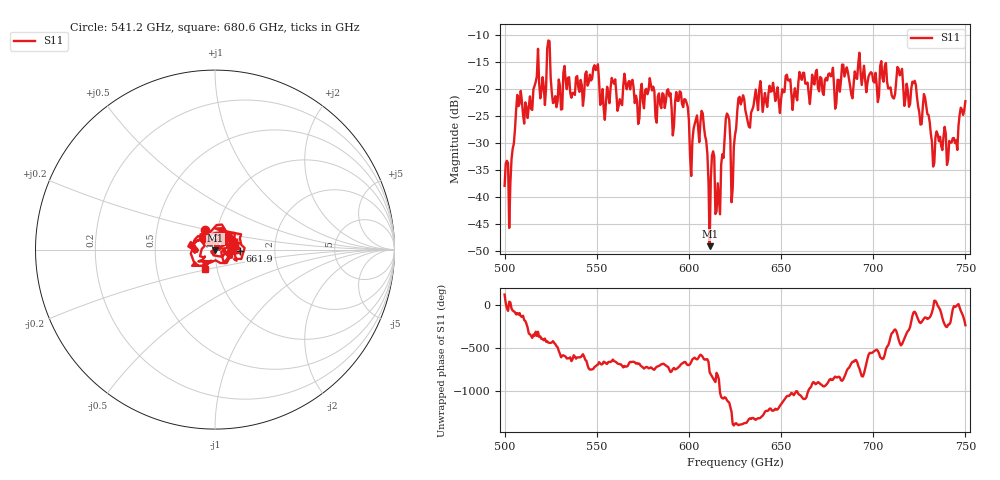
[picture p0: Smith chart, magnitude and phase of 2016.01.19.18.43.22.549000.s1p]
!Created with skrf (http://scikit-rf.org).
# GHz S RI R 50.0
!freq ReS11 ImS11
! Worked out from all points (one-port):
!   401 points, 500 GHz to 750 GHz, reference 50 ohm
!   lowest |S11| = -49.1 dB at 611.2 GHz (marker M1), VSWR 1.01, Z = 50.2 - j0.3 ohm
!   |S11| at or under -10 dB: start of sweep to end of sweep
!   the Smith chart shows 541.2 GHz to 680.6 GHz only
!   S11 on the Smith chart (normalised r, x): 541.2 GHz: 0.88, +0.19; 661.9 GHz: 1.33, -0.02; 680.6 GHz: 0.88, -0.19
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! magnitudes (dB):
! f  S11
! 500 GHz  -38.0
! 503.8 GHz  -33.1
! 508.1 GHz  -22.8
! 523.8 GHz  -11.1
! 526.9 GHz  -22.5
! 531.2 GHz  -23.8
! 541.2 GHz  -18.4
! 549.4 GHz  -16.5
! 553.1 GHz  -20.0
! 562.5 GHz  -21.9
! 593.8 GHz  -22.2
! 601.2 GHz  -36.2
! 607.5 GHz  -24.6
! 611.2 GHz  -49.1
! 615.6 GHz  -37.5
! 620.6 GHz  -24.6
! 623.8 GHz  -38.5
! 625 GHz  -28.5
! 628.1 GHz  -22.9
! 656.2 GHz  -23.9
! 661.9 GHz  -17.0
! 680.6 GHz  -18.4
! 687.5 GHz  -19.6
! 714.4 GHz  -17.5
! 718.8 GHz  -20.3
! 728.8 GHz  -23.1
! 732.5 GHz  -34.4
! 750 GHz  -22.3
